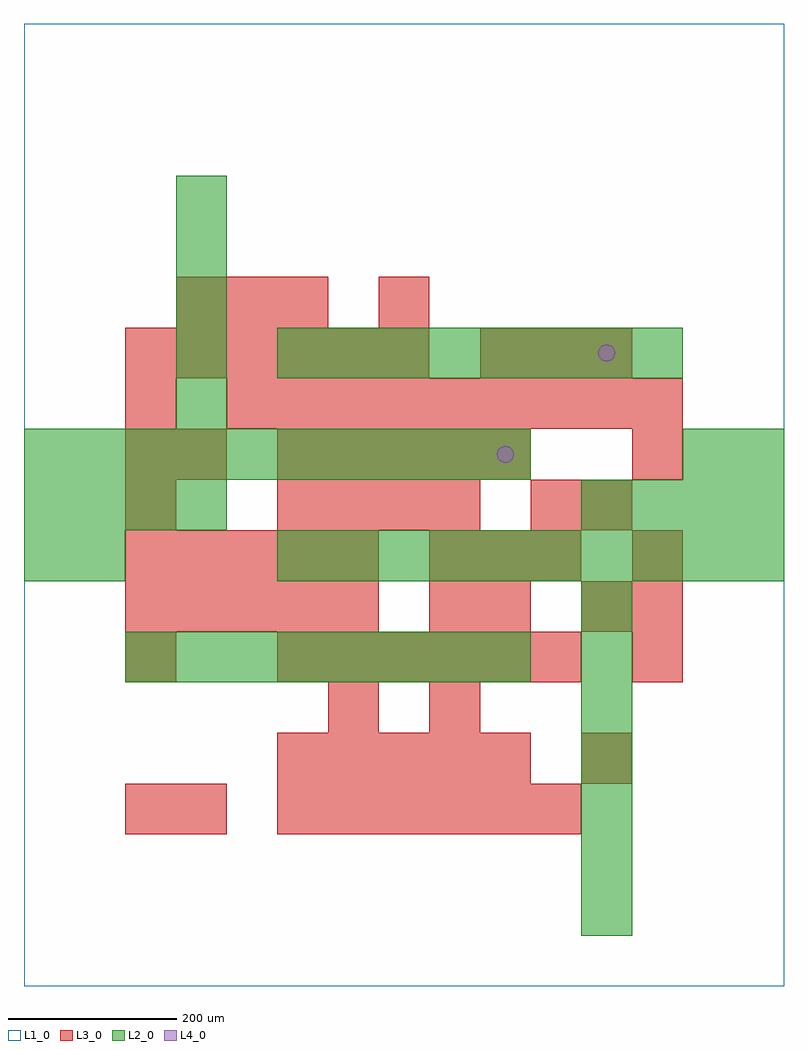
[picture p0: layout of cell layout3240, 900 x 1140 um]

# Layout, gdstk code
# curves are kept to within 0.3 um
import gdstk
lib = gdstk.Library(unit=1e-6, precision=1e-09)
def R(c, l, rs):  # rectangles x0, y0, x1, y1
    for r in rs: c.add(gdstk.rectangle(r[:2], r[2:], *l))
def A(c, l, x, y, w, h, nx, ny, dx, dy):  # array of equal rectangles
    R(c, l, [(x+i*dx, y+j*dy, x+i*dx+w, y+j*dy+h) for i in range(nx) for j in range(ny)])
def P(c, l, *ps):  # polygons
    for p in ps: c.add(gdstk.Polygon(p, *l))
L1_0 = (1, 0)
L2_0 = (2, 0)
L3_0 = (3, 0)
L4_0 = (4, 0)

layout3240 = lib.new_cell('layout3240')
R(layout3240, L1_0, [(0,0,900,1140)])
A(layout3240, L2_0, 660, 60, 60, 60, 1, 7, 0, 60)
A(layout3240, L2_0, 120, 360, 60, 60, 8, 1, 60, 0)
A(layout3240, L2_0, 300, 480, 60, 60, 10, 1, 60, 0)
A(layout3240, L2_0, 0, 540, 60, 60, 4, 1, 60, 0)
A(layout3240, L2_0, 660, 540, 60, 60, 4, 1, 60, 0)
A(layout3240, L2_0, 0, 600, 60, 60, 10, 1, 60, 0)
A(layout3240, L2_0, 180, 660, 60, 60, 1, 5, 0, 60)
A(layout3240, L2_0, 300, 720, 60, 60, 8, 1, 60, 0)
R(layout3240, L2_0, [(0,480,60,540), (60,480,120,540), (780,600,840,660), (840,600,900,660)])
A(layout3240, L3_0, 120, 180, 60, 60, 1, 3, 0, 180)
A(layout3240, L3_0, 300, 180, 60, 60, 6, 2, 60, 180)
A(layout3240, L3_0, 300, 240, 60, 60, 5, 2, 60, 360)
A(layout3240, L3_0, 720, 360, 60, 60, 1, 3, 0, 60)
A(layout3240, L3_0, 120, 420, 60, 60, 5, 2, 60, 60)
A(layout3240, L3_0, 480, 480, 60, 60, 3, 1, 60, 0)
A(layout3240, L3_0, 300, 540, 60, 60, 4, 1, 60, 0)
A(layout3240, L3_0, 240, 660, 60, 60, 9, 1, 60, 0)
A(layout3240, L3_0, 120, 720, 60, 60, 6, 1, 60, 0)
A(layout3240, L3_0, 540, 720, 60, 60, 3, 1, 60, 0)
A(layout3240, L3_0, 180, 780, 60, 60, 3, 1, 60, 0)
R(layout3240, L3_0, [(180,180,240,240), (660,240,720,300), (360,300,420,360), (480,300,540,360), (480,420,540,480), (540,420,600,480), (660,420,720,480), (600,540,660,600), (660,540,720,600), (120,600,180,660), (180,600,240,660), (720,600,780,660), (120,660,180,720), (420,780,480,840)])
P(layout3240, L4_0, [(580,630),(579.239,633.827),(577.071,637.071),(573.827,639.239),(570,640),(566.173,639.239),(562.929,637.071),(560.761,633.827),(560,630),(560.761,626.173),(562.929,622.929),(566.173,620.761),(570,620),(573.827,620.761),(577.071,622.929),(579.239,626.173)],
  [(700,750),(699.239,753.827),(697.071,757.071),(693.827,759.239),(690,760),(686.173,759.239),(682.929,757.071),(680.761,753.827),(680,750),(680.761,746.173),(682.929,742.929),(686.173,740.761),(690,740),(693.827,740.761),(697.071,742.929),(699.239,746.173)])

lib.write_gds('layout3240.gds')
